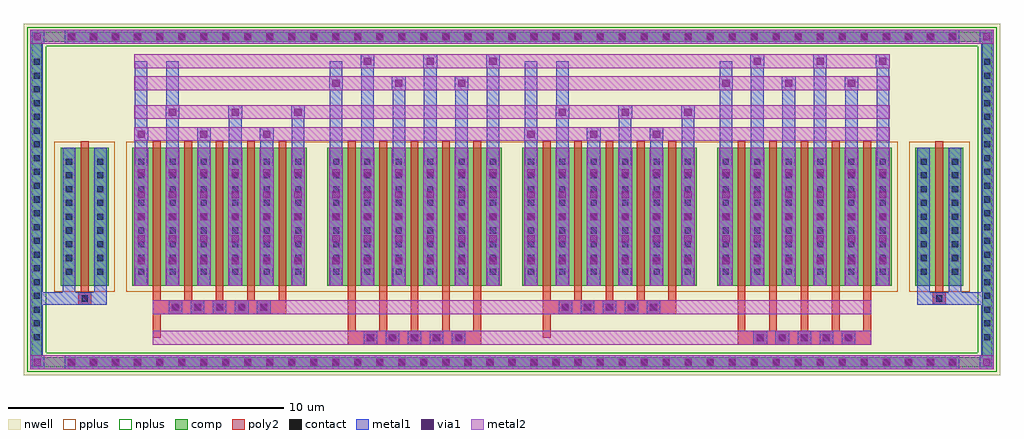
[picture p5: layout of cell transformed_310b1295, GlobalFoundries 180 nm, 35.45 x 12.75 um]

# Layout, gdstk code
import gdstk
lib = gdstk.Library(unit=1e-6, precision=5e-09)
def R(c, l, rs):  # rectangles x0, y0, x1, y1
    for r in rs: c.add(gdstk.rectangle(r[:2], r[2:], *l))
def A(c, l, x, y, w, h, nx, ny, dx, dy):  # array of equal rectangles
    R(c, l, [(x+i*dx, y+j*dy, x+i*dx+w, y+j*dy+h) for i in range(nx) for j in range(ny)])
def P(c, l, *ps):  # polygons
    for p in ps: c.add(gdstk.Polygon(p, *l))
nwell = (21, 0)
comp = (22, 0)
poly2 = (30, 0)
pplus = (31, 0)
nplus = (32, 0)
contact = (33, 0)
metal1 = (34, 0)
via1 = (35, 0)
metal2 = (36, 0)

unnamed_7245f6c7_1 = lib.new_cell('Unnamed_7245f6c7$1')
A(unnamed_7245f6c7_1, comp, -16.18, -6.095, 0.36, 0.36, 41, 2, 0.8, 11.83)
A(unnamed_7245f6c7_1, comp, -17.445, -5.18, 0.36, 0.36, 1, 21, 0, 0.5)
A(unnamed_7245f6c7_1, comp, 17.085, -5.18, 0.36, 0.36, 1, 21, 0, 0.5)
R(unnamed_7245f6c7_1, comp, [(-16.18,-6.095,16.18,-5.735), (-17.445,-5.18,-17.085,5.18), (17.085,-5.18,17.445,5.18), (-16.18,5.735,16.18,6.095)])
P(unnamed_7245f6c7_1, comp, [(-17.445,-6.095),(-17.445,-5.735),(-17.085,-5.735),(17.085,-5.735),(17.085,5.735),(-17.085,5.735),(-17.085,-5.735),(-17.445,-5.735),(-17.445,6.095),(17.445,6.095),(17.445,-6.095)])
P(unnamed_7245f6c7_1, nplus, [(-17.605,-6.255),(-17.605,-5.575),(-16.925,-5.575),(16.925,-5.575),(16.925,5.575),(-16.925,5.575),(-16.925,-5.575),(-17.605,-5.575),(-17.605,6.255),(17.605,6.255),(17.605,-6.255)])
A(unnamed_7245f6c7_1, contact, -16.11, -6.025, 0.22, 0.22, 41, 2, 0.8, 11.83)
A(unnamed_7245f6c7_1, contact, -17.375, -5.11, 0.22, 0.22, 1, 21, 0, 0.5)
A(unnamed_7245f6c7_1, contact, 17.155, -5.11, 0.22, 0.22, 1, 21, 0, 0.5)
A(unnamed_7245f6c7_1, metal1, -16.25, -6.165, 0.5, 0.5, 41, 2, 0.8, 11.83)
A(unnamed_7245f6c7_1, metal1, -17.495, -5.23, 0.46, 0.46, 1, 21, 0, 0.5)
A(unnamed_7245f6c7_1, metal1, 17.035, -5.23, 0.46, 0.46, 1, 21, 0, 0.5)
R(unnamed_7245f6c7_1, metal1, [(-17.495,-6.165,-16.995,-5.665), (-17.495,-6.165,-16.995,-5.665), (-17.495,-6.165,-17.035,-5.735), (-16.25,-6.165,16.25,-5.665), (16.995,-6.165,17.495,-5.665), (16.995,-6.165,17.495,-5.665), (17.035,-6.165,17.495,-5.735), (-17.495,-5.735,-17.035,5.735), (17.035,-5.735,17.495,5.735), (-17.495,5.665,-16.995,6.165), (-17.495,5.665,-16.995,6.165), (-16.25,5.665,16.25,6.165), (16.995,5.665,17.495,6.165), (16.995,5.665,17.495,6.165), (-17.495,5.735,-17.035,6.165), (17.035,5.735,17.495,6.165)])
A(unnamed_7245f6c7_1, via1, -16.13, -6.045, 0.26, 0.26, 41, 2, 0.8, 11.83)
R(unnamed_7245f6c7_1, via1, [(-17.375,-6.045,-17.115,-5.785), (17.115,-6.045,17.375,-5.785), (-17.375,5.785,-17.115,6.045), (17.115,5.785,17.375,6.045)])
A(unnamed_7245f6c7_1, metal2, -16.25, -6.165, 0.5, 0.5, 41, 2, 0.8, 11.83)
R(unnamed_7245f6c7_1, metal2, [(-17.495,-6.165,-17.085,-5.665), (-17.495,-6.165,-16.995,-5.665), (-17.495,-6.165,-16.995,-5.665), (-17.085,-6.165,17.085,-5.665), (16.995,-6.165,17.495,-5.665), (16.995,-6.165,17.495,-5.665), (17.085,-6.165,17.495,-5.665), (-17.495,5.665,-17.085,6.165), (-17.495,5.665,-16.995,6.165), (-17.495,5.665,-16.995,6.165), (-17.085,5.665,17.085,6.165), (16.995,5.665,17.495,6.165), (16.995,5.665,17.495,6.165), (17.085,5.665,17.495,6.165)])

straight_route_44f765c3_ = lib.new_cell('straight_route_44f765c3$1')
R(straight_route_44f765c3_, metal1, [(-17.495,-3.825,-15.75,-3.365)])

straight_route_fbd6fae3_ = lib.new_cell('straight_route_fbd6fae3$1')
R(straight_route_fbd6fae3_, metal1, [(15.75,-3.825,17.495,-3.365)])

transformed_310b1295 = lib.new_cell('transformed_310b1295')
R(transformed_310b1295, nwell, [(-17.725,-6.375,17.725,6.375)])
A(transformed_310b1295, comp, -13.79, -3.125, 6.34, 5, 4, 1, 7.08, 0)
R(transformed_310b1295, comp, [(-16.39,-3.125,-14.65,1.875), (14.65,-3.125,16.39,1.875)])
A(transformed_310b1295, poly2, -5.32, -5.205, 0.36, 0.36, 5, 1, 0.8, 0)
A(transformed_310b1295, poly2, 8.84, -5.205, 0.36, 0.36, 5, 1, 0.8, 0)
A(transformed_310b1295, poly2, -5.96, -4.775, 0.28, 1.41, 5, 1, 1.14, 0)
A(transformed_310b1295, poly2, 8.2, -4.775, 0.28, 1.41, 5, 1, 1.14, 0)
A(transformed_310b1295, poly2, -12.4, -4.095, 0.36, 0.36, 5, 1, 0.8, 0)
A(transformed_310b1295, poly2, 1.76, -4.095, 0.36, 0.36, 5, 1, 0.8, 0)
A(transformed_310b1295, poly2, -13.04, -3.665, 0.28, 0.3, 5, 1, 1.14, 0)
A(transformed_310b1295, poly2, 1.12, -3.665, 0.28, 0.3, 5, 1, 1.14, 0)
A(transformed_310b1295, poly2, -13.04, -3.365, 0.28, 5.48, 5, 1, 1.14, 0)
A(transformed_310b1295, poly2, -5.96, -3.365, 0.28, 5.48, 5, 1, 1.14, 0)
A(transformed_310b1295, poly2, 1.12, -3.365, 0.28, 5.48, 5, 1, 1.14, 0)
A(transformed_310b1295, poly2, 8.2, -3.365, 0.28, 5.48, 5, 1, 1.14, 0)
R(transformed_310b1295, poly2, [(-5.96,-5.275,-1.12,-4.775), (8.2,-5.275,13.04,-4.775), (-13.04,-5.025,-12.76,-3.365), (1.12,-5.025,1.4,-3.365), (-13.04,-4.165,-8.2,-3.665), (1.12,-4.165,5.96,-3.665), (-15.75,-3.825,-15.29,-3.365), (15.29,-3.825,15.75,-3.365), (-15.7,-3.775,-15.34,-3.415), (15.34,-3.775,15.7,-3.415), (-15.66,-3.365,-15.38,2.115), (15.38,-3.365,15.66,2.115)])
A(transformed_310b1295, pplus, -14.02, -3.355, 6.8, 5.46, 4, 1, 7.08, 0)
R(transformed_310b1295, pplus, [(-16.62,-3.355,-14.42,2.105), (-14.02,-3.355,14.02,2.105), (14.42,-3.355,16.62,2.105)])
A(transformed_310b1295, contact, -5.25, -5.135, 0.22, 0.22, 5, 1, 0.8, 0)
A(transformed_310b1295, contact, 8.91, -5.135, 0.22, 0.22, 5, 1, 0.8, 0)
A(transformed_310b1295, contact, -12.33, -4.025, 0.22, 0.22, 5, 1, 0.8, 0)
A(transformed_310b1295, contact, 1.83, -4.025, 0.22, 0.22, 5, 1, 0.8, 0)
A(transformed_310b1295, contact, -16.2, -2.735, 0.22, 0.22, 1, 9, 0, 0.5)
A(transformed_310b1295, contact, -15.06, -2.735, 0.22, 0.22, 1, 9, 0, 0.5)
A(transformed_310b1295, contact, -13.58, -2.735, 0.22, 0.22, 6, 9, 1.14, 0.5)
A(transformed_310b1295, contact, -6.5, -2.735, 0.22, 0.22, 6, 9, 1.14, 0.5)
A(transformed_310b1295, contact, 0.58, -2.735, 0.22, 0.22, 6, 9, 1.14, 0.5)
A(transformed_310b1295, contact, 7.66, -2.735, 0.22, 0.22, 6, 9, 1.14, 0.5)
A(transformed_310b1295, contact, 14.84, -2.735, 0.22, 0.22, 1, 9, 0, 0.5)
A(transformed_310b1295, contact, 15.98, -2.735, 0.22, 0.22, 1, 9, 0, 0.5)
R(transformed_310b1295, contact, [(-15.63,-3.705,-15.41,-3.485), (15.41,-3.705,15.63,-3.485)])
A(transformed_310b1295, metal1, -5.39, -5.275, 0.5, 0.5, 5, 1, 0.8, 0)
A(transformed_310b1295, metal1, 8.77, -5.275, 0.5, 0.5, 5, 1, 0.8, 0)
A(transformed_310b1295, metal1, -12.47, -4.165, 0.5, 0.5, 5, 1, 0.8, 0)
A(transformed_310b1295, metal1, 1.69, -4.165, 0.5, 0.5, 5, 1, 0.8, 0)
A(transformed_310b1295, metal1, -13.7, -3.125, 0.46, 5, 6, 1, 1.14, 0)
A(transformed_310b1295, metal1, -6.62, -3.125, 0.46, 5, 6, 1, 1.14, 0)
A(transformed_310b1295, metal1, 0.46, -3.125, 0.46, 5, 6, 1, 1.14, 0)
A(transformed_310b1295, metal1, 7.54, -3.125, 0.46, 5, 6, 1, 1.14, 0)
A(transformed_310b1295, metal1, -16.32, -2.855, 0.46, 0.46, 1, 9, 0, 0.5)
A(transformed_310b1295, metal1, -15.18, -2.855, 0.46, 0.46, 1, 9, 0, 0.5)
A(transformed_310b1295, metal1, -13.7, -2.855, 0.46, 0.46, 6, 9, 1.14, 0.5)
A(transformed_310b1295, metal1, -6.62, -2.855, 0.46, 0.46, 6, 9, 1.14, 0.5)
A(transformed_310b1295, metal1, 0.46, -2.855, 0.46, 0.46, 6, 9, 1.14, 0.5)
A(transformed_310b1295, metal1, 7.54, -2.855, 0.46, 0.46, 6, 9, 1.14, 0.5)
A(transformed_310b1295, metal1, 14.72, -2.855, 0.46, 0.46, 1, 9, 0, 0.5)
A(transformed_310b1295, metal1, 15.86, -2.855, 0.46, 0.46, 1, 9, 0, 0.5)
A(transformed_310b1295, metal1, -13.72, -2.475, 0.5, 0.5, 6, 5, 1.14, 0.8)
A(transformed_310b1295, metal1, -13.72, -2.475, 0.5, 3.7, 6, 1, 1.14, 0)
A(transformed_310b1295, metal1, -6.64, -2.475, 0.5, 0.5, 6, 5, 1.14, 0.8)
A(transformed_310b1295, metal1, -6.64, -2.475, 0.5, 3.7, 6, 1, 1.14, 0)
A(transformed_310b1295, metal1, 0.44, -2.475, 0.5, 0.5, 6, 5, 1.14, 0.8)
A(transformed_310b1295, metal1, 0.44, -2.475, 0.5, 3.7, 6, 1, 1.14, 0)
A(transformed_310b1295, metal1, 7.52, -2.475, 0.5, 0.5, 6, 5, 1.14, 0.8)
A(transformed_310b1295, metal1, 7.52, -2.475, 0.5, 3.7, 6, 1, 1.14, 0)
A(transformed_310b1295, metal1, -13.7, 1.875, 0.46, 0.75, 3, 1, 2.28, 0)
A(transformed_310b1295, metal1, -12.56, 1.875, 0.46, 1.55, 3, 1, 2.28, 0)
A(transformed_310b1295, metal1, -6.62, 1.875, 0.46, 2.6, 3, 1, 2.28, 0)
A(transformed_310b1295, metal1, -5.48, 1.875, 0.46, 3.4, 3, 1, 2.28, 0)
A(transformed_310b1295, metal1, 0.46, 1.875, 0.46, 0.75, 3, 1, 2.28, 0)
A(transformed_310b1295, metal1, 1.6, 1.875, 0.46, 1.55, 3, 1, 2.28, 0)
A(transformed_310b1295, metal1, 7.54, 1.875, 0.46, 2.6, 3, 1, 2.28, 0)
A(transformed_310b1295, metal1, 8.68, 1.875, 0.46, 3.4, 3, 1, 2.28, 0)
A(transformed_310b1295, metal1, -13.72, 2.125, 0.5, 0.5, 3, 1, 2.28, 0)
A(transformed_310b1295, metal1, 0.44, 2.125, 0.5, 0.5, 3, 1, 2.28, 0)
A(transformed_310b1295, metal1, -12.58, 2.925, 0.5, 0.5, 3, 1, 2.28, 0)
A(transformed_310b1295, metal1, 1.58, 2.925, 0.5, 0.5, 3, 1, 2.28, 0)
A(transformed_310b1295, metal1, -6.64, 3.975, 0.5, 0.5, 3, 1, 2.28, 0)
A(transformed_310b1295, metal1, 7.52, 3.975, 0.5, 0.5, 3, 1, 2.28, 0)
A(transformed_310b1295, metal1, -5.5, 4.775, 0.5, 0.5, 3, 1, 2.28, 0)
A(transformed_310b1295, metal1, 8.66, 4.775, 0.5, 0.5, 3, 1, 2.28, 0)
R(transformed_310b1295, metal1, [(-16.32,-3.825,-15.75,-3.365), (-16.32,-3.825,-15.86,-3.125), (-15.75,-3.825,-15.29,-3.365), (-15.29,-3.825,-14.72,-3.365), (-15.18,-3.825,-14.72,-3.125), (14.72,-3.825,15.29,-3.365), (14.72,-3.825,15.18,-3.125), (15.29,-3.825,15.75,-3.365), (15.75,-3.825,16.32,-3.365), (15.86,-3.825,16.32,-3.125), (-16.32,-3.125,-15.86,1.875), (-15.18,-3.125,-14.72,1.875), (14.72,-3.125,15.18,1.875), (15.86,-3.125,16.32,1.875), (-13.7,1.875,-13.24,5.025), (-12.56,1.875,-12.1,5.025), (-6.62,1.875,-6.16,5.025), (-5.48,1.875,-5.02,5.025), (0.46,1.875,0.92,5.025), (1.6,1.875,2.06,5.025), (7.54,1.875,8,5.025), (8.68,1.875,9.14,5.025)])
A(transformed_310b1295, via1, -5.27, -5.155, 0.26, 0.26, 5, 1, 0.8, 0)
A(transformed_310b1295, via1, 8.89, -5.155, 0.26, 0.26, 5, 1, 0.8, 0)
A(transformed_310b1295, via1, -12.35, -4.045, 0.26, 0.26, 5, 1, 0.8, 0)
A(transformed_310b1295, via1, 1.81, -4.045, 0.26, 0.26, 5, 1, 0.8, 0)
A(transformed_310b1295, via1, -13.6, -2.355, 0.26, 0.26, 6, 5, 1.14, 0.8)
A(transformed_310b1295, via1, -6.52, -2.355, 0.26, 0.26, 6, 5, 1.14, 0.8)
A(transformed_310b1295, via1, 0.56, -2.355, 0.26, 0.26, 6, 5, 1.14, 0.8)
A(transformed_310b1295, via1, 7.64, -2.355, 0.26, 0.26, 6, 5, 1.14, 0.8)
A(transformed_310b1295, via1, -13.6, 2.245, 0.26, 0.26, 3, 1, 2.28, 0)
A(transformed_310b1295, via1, 0.56, 2.245, 0.26, 0.26, 3, 1, 2.28, 0)
A(transformed_310b1295, via1, -12.46, 3.045, 0.26, 0.26, 3, 1, 2.28, 0)
A(transformed_310b1295, via1, 1.7, 3.045, 0.26, 0.26, 3, 1, 2.28, 0)
A(transformed_310b1295, via1, -6.52, 4.095, 0.26, 0.26, 3, 1, 2.28, 0)
A(transformed_310b1295, via1, 7.64, 4.095, 0.26, 0.26, 3, 1, 2.28, 0)
A(transformed_310b1295, via1, -5.38, 4.895, 0.26, 0.26, 3, 1, 2.28, 0)
A(transformed_310b1295, via1, 8.78, 4.895, 0.26, 0.26, 3, 1, 2.28, 0)
A(transformed_310b1295, metal2, -5.39, -5.275, 0.5, 0.5, 5, 1, 0.8, 0)
A(transformed_310b1295, metal2, 8.77, -5.275, 0.5, 0.5, 5, 1, 0.8, 0)
A(transformed_310b1295, metal2, -12.47, -4.165, 0.5, 0.5, 5, 1, 0.8, 0)
A(transformed_310b1295, metal2, 1.69, -4.165, 0.5, 0.5, 5, 1, 0.8, 0)
A(transformed_310b1295, metal2, -13.72, -3.125, 0.5, 5, 6, 1, 1.14, 0)
A(transformed_310b1295, metal2, -6.64, -3.125, 0.5, 5, 6, 1, 1.14, 0)
A(transformed_310b1295, metal2, 0.44, -3.125, 0.5, 5, 6, 1, 1.14, 0)
A(transformed_310b1295, metal2, 7.52, -3.125, 0.5, 5, 6, 1, 1.14, 0)
A(transformed_310b1295, metal2, -13.72, -2.475, 0.5, 0.5, 6, 5, 1.14, 0.8)
A(transformed_310b1295, metal2, -6.64, -2.475, 0.5, 0.5, 6, 5, 1.14, 0.8)
A(transformed_310b1295, metal2, 0.44, -2.475, 0.5, 0.5, 6, 5, 1.14, 0.8)
A(transformed_310b1295, metal2, 7.52, -2.475, 0.5, 0.5, 6, 5, 1.14, 0.8)
A(transformed_310b1295, metal2, -13.72, 2.125, 0.5, 0.5, 3, 1, 2.28, 0)
A(transformed_310b1295, metal2, 0.44, 2.125, 0.5, 0.5, 3, 1, 2.28, 0)
A(transformed_310b1295, metal2, -12.58, 2.925, 0.5, 0.5, 3, 1, 2.28, 0)
A(transformed_310b1295, metal2, 1.58, 2.925, 0.5, 0.5, 3, 1, 2.28, 0)
A(transformed_310b1295, metal2, -6.64, 3.975, 0.5, 0.5, 3, 1, 2.28, 0)
A(transformed_310b1295, metal2, 7.52, 3.975, 0.5, 0.5, 3, 1, 2.28, 0)
A(transformed_310b1295, metal2, -5.5, 4.775, 0.5, 0.5, 3, 1, 2.28, 0)
A(transformed_310b1295, metal2, 8.66, 4.775, 0.5, 0.5, 3, 1, 2.28, 0)
R(transformed_310b1295, metal2, [(-13.04,-5.275,13.04,-4.775), (-5.96,-5.275,-1.12,-4.775), (8.2,-5.275,13.04,-4.775), (-13.04,-4.165,13.04,-3.665), (-13.04,-4.165,-8.2,-3.665), (1.12,-4.165,5.96,-3.665), (-13.72,2.125,13.72,2.625), (-13.72,2.125,-7.52,2.625), (0.44,2.125,6.64,2.625), (-13.72,2.925,13.72,3.425), (-13.72,2.925,-7.52,3.425), (0.44,2.925,6.64,3.425), (-13.72,3.975,13.72,4.475), (-6.64,3.975,-0.44,4.475), (7.52,3.975,13.72,4.475), (-13.72,4.775,13.72,5.275), (-6.64,4.775,-0.44,5.275), (7.52,4.775,13.72,5.275)])
transformed_310b1295.add(gdstk.Reference(unnamed_7245f6c7_1, (0,0)))
transformed_310b1295.add(gdstk.Reference(straight_route_44f765c3_, (0,0)))
transformed_310b1295.add(gdstk.Reference(straight_route_fbd6fae3_, (0,0)))

lib.write_gds('transformed_310b1295.gds')
